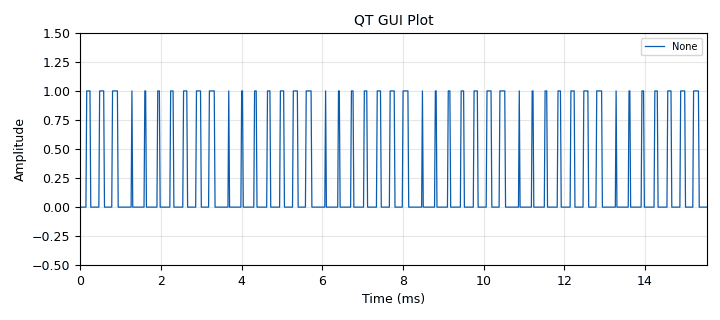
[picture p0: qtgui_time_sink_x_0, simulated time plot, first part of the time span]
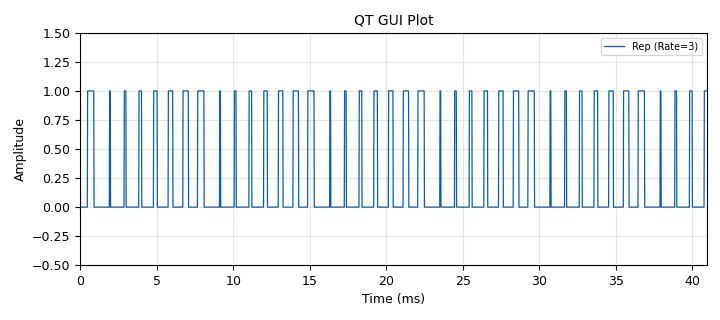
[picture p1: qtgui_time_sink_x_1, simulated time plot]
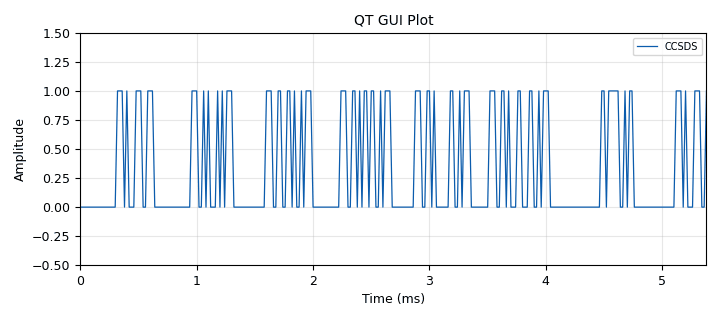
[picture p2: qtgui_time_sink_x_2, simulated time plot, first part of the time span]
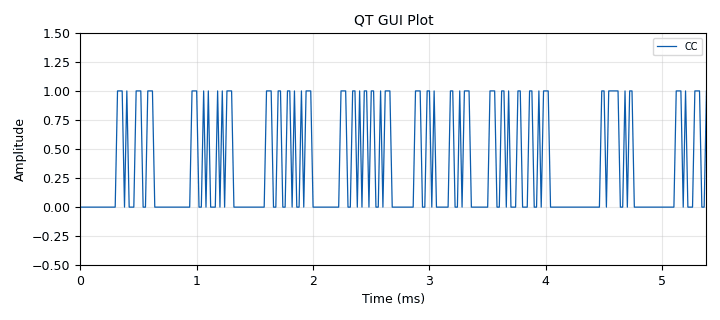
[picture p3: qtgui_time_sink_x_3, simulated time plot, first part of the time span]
<?xml version='1.0' encoding='utf-8'?>
<flow_graph>
<block>
<key>options</key>
<param><key>id</key><value>fecapi_tagged_encoders</value></param>
<param><key>generate_options</key><value>qt_gui</value></param>
<param><key>category</key><value>Custom</value></param>
</block>
<block>
<key>variable</key>
<param><key>id</key><value>k</value></param>
<param><key>value</key><value>7</value></param>
</block>
<block>
<key>variable</key>
<param><key>id</key><value>polys</value></param>
<param><key>value</key><value>[109, 79]</value></param>
</block>
<block>
<key>variable</key>
<param><key>id</key><value>polys</value></param>
<param><key>_enabled</key><value>False</value></param>
<param><key>value</key><value>[79, 109]</value></param>
</block>
<block>
<key>variable</key>
<param><key>id</key><value>rate</value></param>
<param><key>value</key><value>2</value></param>
</block>
<block>
<key>variable</key>
<param><key>id</key><value>samp_rate</value></param>
<param><key>value</key><value>50000</value></param>
</block>
<block>
<key>variable</key>
<param><key>id</key><value>length_tag</value></param>
<param><key>value</key><value>"packet_len"</value></param>
</block>
<block>
<key>blocks_vector_source_x</key>
<param><key>id</key><value>blocks_vector_source_x_0_1_0</value></param>
<param><key>type</key><value>byte</value></param>
<param><key>vector</key><value>4*[0, 0, 1, 0, 3, 0, 7, 0, 15, 0, 31, 0, 63, 0, 127]</value></param>
<param><key>repeat</key><value>True</value></param>
</block>
<block>
<key>parameter</key>
<param><key>id</key><value>puncpat</value></param>
<param><key>value</key><value>'11'</value></param>
<param><key>type</key><value>string</value></param>
</block>
<block>
<key>blocks_ctrlport_monitor_performance</key>
<param><key>id</key><value>blocks_ctrlport_monitor_performance_0</value></param>
<param><key>_enabled</key><value>False</value></param>
<param><key>en</key><value>True</value></param>
</block>
<block>
<key>parameter</key>
<param><key>id</key><value>frame_size</value></param>
<param><key>label</key><value>Frame Size</value></param>
<param><key>value</key><value>30</value></param>
<param><key>type</key><value>intx</value></param>
</block>
<block>
<key>variable_dummy_encoder_def</key>
<param><key>id</key><value>enc_dummy</value></param>
<param><key>value</key><value>"ok"</value></param>
<param><key>ndim</key><value>1</value></param>
<param><key>dim1</key><value>1</value></param>
<param><key>framebits</key><value>MTU*8</value></param>
</block>
<block>
<key>analog_random_source_x</key>
<param><key>id</key><value>analog_random_source_x_0</value></param>
<param><key>_enabled</key><value>False</value></param>
<param><key>type</key><value>byte</value></param>
<param><key>min</key><value>0</value></param>
<param><key>max</key><value>256</value></param>
<param><key>num_samps</key><value>1000</value></param>
<param><key>repeat</key><value>True</value></param>
</block>
<block>
<key>blocks_throttle</key>
<param><key>id</key><value>blocks_throttle_0</value></param>
<param><key>type</key><value>byte</value></param>
<param><key>samples_per_second</key><value>samp_rate</value></param>
</block>
<block>
<key>blocks_stream_to_tagged_stream</key>
<param><key>id</key><value>blocks_stream_to_tagged_stream_0_0</value></param>
<param><key>type</key><value>byte</value></param>
<param><key>packet_len</key><value>frame_size</value></param>
<param><key>len_tag_key</key><value>length_tag</value></param>
</block>
<block>
<key>blocks_char_to_float</key>
<param><key>id</key><value>blocks_char_to_float_1_0</value></param>
<param><key>scale</key><value>1</value></param>
</block>
<block>
<key>fec_extended_encoder</key>
<param><key>id</key><value>fec_extended_encoder_2</value></param>
<param><key>encoder_list</key><value>enc_ccsds</value></param>
<param><key>threadtype</key><value>none</value></param>
<param><key>puncpat</key><value>puncpat</value></param>
<param><key>lentagname</key><value>length_tag</value></param>
</block>
<block>
<key>parameter</key>
<param><key>id</key><value>MTU</value></param>
<param><key>label</key><value>MTU</value></param>
<param><key>value</key><value>1000</value></param>
<param><key>type</key><value>intx</value></param>
</block>
<block>
<key>blocks_char_to_float</key>
<param><key>id</key><value>blocks_char_to_float_1_0_0_0</value></param>
<param><key>scale</key><value>1</value></param>
</block>
<block>
<key>blocks_char_to_float</key>
<param><key>id</key><value>blocks_char_to_float_1_0_0</value></param>
<param><key>scale</key><value>1</value></param>
</block>
<block>
<key>fec_extended_encoder</key>
<param><key>id</key><value>fec_extended_encoder_0</value></param>
<param><key>encoder_list</key><value>enc_dummy</value></param>
<param><key>threadtype</key><value>none</value></param>
<param><key>puncpat</key><value>puncpat</value></param>
<param><key>lentagname</key><value>length_tag</value></param>
</block>
<block>
<key>fec_extended_encoder</key>
<param><key>id</key><value>fec_extended_encoder_1</value></param>
<param><key>encoder_list</key><value>enc_rep</value></param>
<param><key>threadtype</key><value>none</value></param>
<param><key>puncpat</key><value>puncpat</value></param>
<param><key>lentagname</key><value>length_tag</value></param>
</block>
<block>
<key>blocks_char_to_float</key>
<param><key>id</key><value>blocks_char_to_float_1</value></param>
<param><key>scale</key><value>1</value></param>
</block>
<block>
<key>fec_extended_encoder</key>
<param><key>id</key><value>fec_extended_encoder_3</value></param>
<param><key>encoder_list</key><value>enc_cc</value></param>
<param><key>threadtype</key><value>none</value></param>
<param><key>puncpat</key><value>puncpat</value></param>
<param><key>lentagname</key><value>length_tag</value></param>
</block>
<block>
<key>qtgui_time_sink_x</key>
<param><key>id</key><value>qtgui_time_sink_x_0</value></param>
<param><key>type</key><value>float</value></param>
<param><key>name</key><value>QT GUI Plot</value></param>
<param><key>size</key><value>2048</value></param>
<param><key>srate</key><value>samp_rate</value></param>
<param><key>ymin</key><value>-0.5</value></param>
<param><key>ymax</key><value>1.5</value></param>
<param><key>update_time</key><value>0.05</value></param>
<param><key>gui_hint</key><value>0,0,1,1</value></param>
<param><key>tr_tag</key><value>packet_len</value></param>
<param><key>label1</key><value>None</value></param>
<param><key>color1</key><value>"blue"</value></param>
</block>
<block>
<key>qtgui_time_sink_x</key>
<param><key>id</key><value>qtgui_time_sink_x_1</value></param>
<param><key>type</key><value>float</value></param>
<param><key>name</key><value>QT GUI Plot</value></param>
<param><key>size</key><value>2048</value></param>
<param><key>srate</key><value>samp_rate</value></param>
<param><key>ymin</key><value>-0.5</value></param>
<param><key>ymax</key><value>1.5</value></param>
<param><key>update_time</key><value>0.05</value></param>
<param><key>gui_hint</key><value>1,0,1,1</value></param>
<param><key>tr_tag</key><value>packet_len</value></param>
<param><key>label1</key><value>Rep (Rate=3)</value></param>
<param><key>color1</key><value>"blue"</value></param>
</block>
<block>
<key>qtgui_time_sink_x</key>
<param><key>id</key><value>qtgui_time_sink_x_2</value></param>
<param><key>type</key><value>float</value></param>
<param><key>name</key><value>QT GUI Plot</value></param>
<param><key>size</key><value>2048</value></param>
<param><key>srate</key><value>samp_rate</value></param>
<param><key>ymin</key><value>-0.5</value></param>
<param><key>ymax</key><value>1.5</value></param>
<param><key>update_time</key><value>0.05</value></param>
<param><key>gui_hint</key><value>2,0,1,1</value></param>
<param><key>tr_tag</key><value>packet_len</value></param>
<param><key>label1</key><value>CCSDS</value></param>
<param><key>color1</key><value>"blue"</value></param>
</block>
<block>
<key>qtgui_time_sink_x</key>
<param><key>id</key><value>qtgui_time_sink_x_3</value></param>
<param><key>type</key><value>float</value></param>
<param><key>name</key><value>QT GUI Plot</value></param>
<param><key>size</key><value>2048</value></param>
<param><key>srate</key><value>samp_rate</value></param>
<param><key>ymin</key><value>-0.5</value></param>
<param><key>ymax</key><value>1.5</value></param>
<param><key>update_time</key><value>0.05</value></param>
<param><key>gui_hint</key><value>3,0,1,1</value></param>
<param><key>tr_tag</key><value>packet_len</value></param>
<param><key>label1</key><value>CC</value></param>
<param><key>color1</key><value>"blue"</value></param>
</block>
<block>
<key>variable_repetition_encoder_def</key>
<param><key>id</key><value>enc_rep</value></param>
<param><key>value</key><value>"ok"</value></param>
<param><key>ndim</key><value>1</value></param>
<param><key>dim1</key><value>1</value></param>
<param><key>framebits</key><value>MTU*8</value></param>
<param><key>rep</key><value>3</value></param>
</block>
<block>
<key>variable_ccsds_encoder_def</key>
<param><key>id</key><value>enc_ccsds</value></param>
<param><key>value</key><value>"ok"</value></param>
<param><key>ndim</key><value>1</value></param>
<param><key>dim1</key><value>1</value></param>
<param><key>framebits</key><value>MTU*8</value></param>
<param><key>state_start</key><value>0</value></param>
<param><key>mode</key><value>fec.CC_TERMINATED</value></param>
</block>
<block>
<key>variable_cc_encoder_def</key>
<param><key>id</key><value>enc_cc</value></param>
<param><key>value</key><value>"ok"</value></param>
<param><key>ndim</key><value>1</value></param>
<param><key>dim1</key><value>1</value></param>
<param><key>framebits</key><value>MTU*8</value></param>
<param><key>k</key><value>k</value></param>
<param><key>rate</key><value>rate</value></param>
<param><key>polys</key><value>polys</value></param>
<param><key>state_start</key><value>0</value></param>
<param><key>mode</key><value>fec.CC_TERMINATED</value></param>
</block>
<block>
<key>blocks_repack_bits_bb</key>
<param><key>id</key><value>blocks_repack_bits_bb_0</value></param>
<param><key>k</key><value>8</value></param>
<param><key>l</key><value>1</value></param>
<param><key>len_tag_key</key><value>packet_len</value></param>
</block>
<connection><source_block_id>analog_random_source_x_0</source_block_id><sink_block_id>blocks_throttle_0</sink_block_id><source_key>0</source_key><sink_key>0</sink_key></connection>
<connection><source_block_id>blocks_vector_source_x_0_1_0</source_block_id><sink_block_id>blocks_throttle_0</sink_block_id><source_key>0</source_key><sink_key>0</sink_key></connection>
<connection><source_block_id>blocks_stream_to_tagged_stream_0_0</source_block_id><sink_block_id>blocks_repack_bits_bb_0</sink_block_id><source_key>0</source_key><sink_key>0</sink_key></connection>
<connection><source_block_id>blocks_repack_bits_bb_0</source_block_id><sink_block_id>fec_extended_encoder_3</sink_block_id><source_key>0</source_key><sink_key>0</sink_key></connection>
<connection><source_block_id>blocks_throttle_0</source_block_id><sink_block_id>blocks_stream_to_tagged_stream_0_0</sink_block_id><source_key>0</source_key><sink_key>0</sink_key></connection>
<connection><source_block_id>blocks_repack_bits_bb_0</source_block_id><sink_block_id>fec_extended_encoder_0</sink_block_id><source_key>0</source_key><sink_key>0</sink_key></connection>
<connection><source_block_id>blocks_repack_bits_bb_0</source_block_id><sink_block_id>fec_extended_encoder_1</sink_block_id><source_key>0</source_key><sink_key>0</sink_key></connection>
<connection><source_block_id>blocks_repack_bits_bb_0</source_block_id><sink_block_id>fec_extended_encoder_2</sink_block_id><source_key>0</source_key><sink_key>0</sink_key></connection>
<connection><source_block_id>blocks_char_to_float_1_0</source_block_id><sink_block_id>qtgui_time_sink_x_2</sink_block_id><source_key>0</source_key><sink_key>0</sink_key></connection>
<connection><source_block_id>fec_extended_encoder_2</source_block_id><sink_block_id>blocks_char_to_float_1_0</sink_block_id><source_key>0</source_key><sink_key>0</sink_key></connection>
<connection><source_block_id>fec_extended_encoder_0</source_block_id><sink_block_id>blocks_char_to_float_1_0_0</sink_block_id><source_key>0</source_key><sink_key>0</sink_key></connection>
<connection><source_block_id>blocks_char_to_float_1_0_0</source_block_id><sink_block_id>qtgui_time_sink_x_0</sink_block_id><source_key>0</source_key><sink_key>0</sink_key></connection>
<connection><source_block_id>fec_extended_encoder_1</source_block_id><sink_block_id>blocks_char_to_float_1_0_0_0</sink_block_id><source_key>0</source_key><sink_key>0</sink_key></connection>
<connection><source_block_id>blocks_char_to_float_1_0_0_0</source_block_id><sink_block_id>qtgui_time_sink_x_1</sink_block_id><source_key>0</source_key><sink_key>0</sink_key></connection>
<connection><source_block_id>blocks_char_to_float_1</source_block_id><sink_block_id>qtgui_time_sink_x_3</sink_block_id><source_key>0</source_key><sink_key>0</sink_key></connection>
<connection><source_block_id>fec_extended_encoder_3</source_block_id><sink_block_id>blocks_char_to_float_1</sink_block_id><source_key>0</source_key><sink_key>0</sink_key></connection>
</flow_graph>
